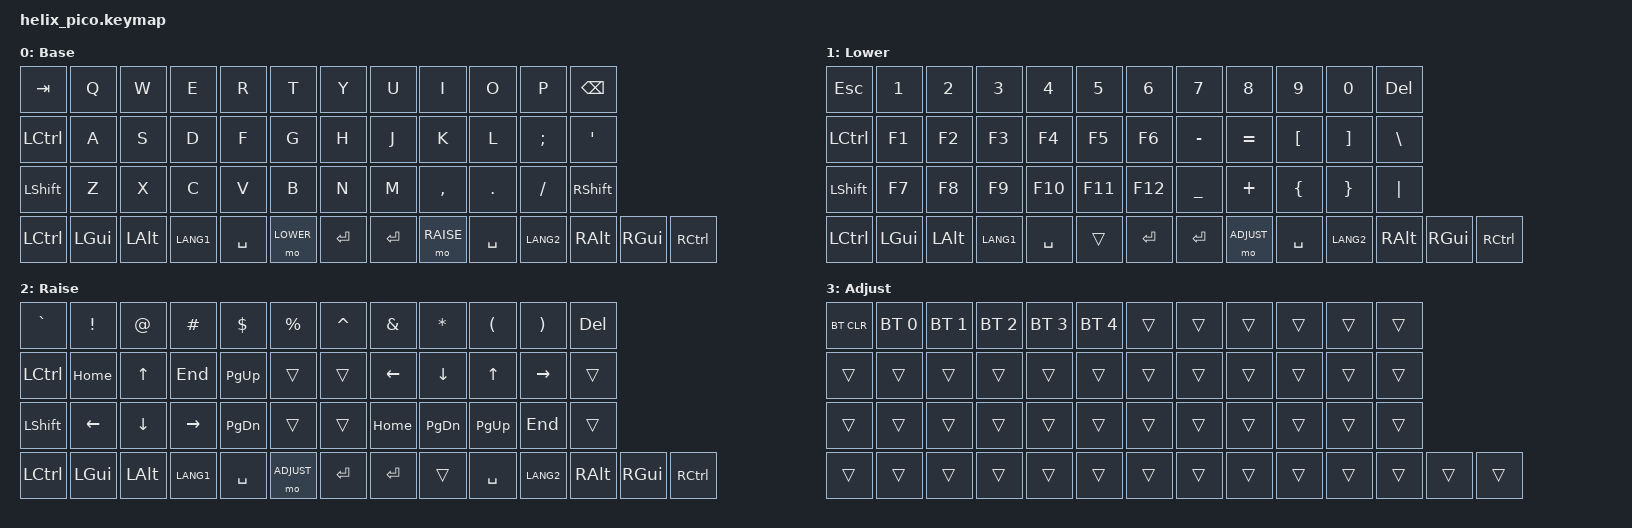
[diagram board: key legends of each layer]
/*
 * Copyright (c) 2024 HaruStudio
 * SPDX-License-Identifier: MIT
 *
 * Helix Pico default keymap (QWERTY)
 * 50 keys total: 4 rows x 6 cols + 1 thumb key, per side
 *
 * Physical layout (key index order in map):
 * Row0(12): TAB  Q W E R T  |  Y U I O P  BSPC
 * Row1(12): LCTL A S D F G  |  H J K L ;  '
 * Row2(12): LSFT Z X C V B  |  N M , . /  RSFT
 * Row3(14): LCTL LGUI LALT LANG1 SPC LWR ENT | ENT RSE SPC LANG2 RALT RGUI RCTL
 */

#include <behaviors.dtsi>
#include <dt-bindings/zmk/keys.h>
#include <dt-bindings/zmk/bt.h>

#define BASE 0
#define LOWER 1
#define RAISE 2
#define ADJUST 3

/ {
    keymap {
        compatible = "zmk,keymap";

        base_layer {
            label = "Base";
            bindings = <
/* Row 0 */
&kp TAB   &kp Q &kp W &kp E &kp R &kp T        &kp Y &kp U &kp I     &kp O   &kp P    &kp BSPC
/* Row 1 */
&kp LCTRL &kp A &kp S &kp D &kp F &kp G        &kp H &kp J &kp K     &kp L   &kp SEMI &kp SQT
/* Row 2 */
&kp LSHFT &kp Z &kp X &kp C &kp V &kp B        &kp N &kp M &kp COMMA &kp DOT &kp FSLH &kp RSHFT
/* Row 3 (7 keys per side) */
&kp LCTRL &kp LGUI &kp LALT &kp LANG1 &kp SPACE &mo LOWER &kp RET    &kp RET &mo RAISE &kp SPACE &kp LANG2 &kp RALT &kp RGUI &kp RCTRL
            >;
        };

        lower_layer {
            label = "Lower";
            bindings = <
/* Row 0 */
&kp ESC   &kp N1 &kp N2 &kp N3 &kp N4 &kp N5        &kp N6    &kp N7    &kp N8    &kp N9   &kp N0   &kp DEL
/* Row 1 */
&kp LCTRL &kp F1 &kp F2 &kp F3 &kp F4 &kp F5        &kp F6    &kp MINUS &kp EQUAL &kp LBKT &kp RBKT &kp BSLH
/* Row 2 */
&kp LSHFT &kp F7 &kp F8 &kp F9 &kp F10 &kp F11      &kp F12   &kp UNDER &kp PLUS  &kp LBRC &kp RBRC &kp PIPE
/* Row 3 */
&kp LCTRL &kp LGUI &kp LALT &kp LANG1 &kp SPACE &trans &kp RET    &kp RET &mo ADJUST &kp SPACE &kp LANG2 &kp RALT &kp RGUI &kp RCTRL
            >;
        };

        raise_layer {
            label = "Raise";
            bindings = <
/* Row 0 */
&kp GRAVE &kp EXCL &kp AT &kp HASH &kp DLLR &kp PRCNT    &kp CARET &kp AMPS  &kp STAR  &kp LPAR &kp RPAR &kp DEL
/* Row 1 */
&kp LCTRL &kp HOME &kp UP   &kp END   &kp PG_UP &trans      &trans    &kp LEFT  &kp DOWN  &kp UP   &kp RIGHT &trans
/* Row 2 */
&kp LSHFT &kp LEFT &kp DOWN &kp RIGHT &kp PG_DN &trans      &trans    &kp HOME  &kp PG_DN &kp PG_UP &kp END &trans
/* Row 3 */
&kp LCTRL &kp LGUI &kp LALT &kp LANG1 &kp SPACE &mo ADJUST &kp RET    &kp RET &trans &kp SPACE &kp LANG2 &kp RALT &kp RGUI &kp RCTRL
            >;
        };

        adjust_layer {
            label = "Adjust";
            bindings = <
/* Row 0 */
&bt BT_CLR &bt BT_SEL 0 &bt BT_SEL 1 &bt BT_SEL 2 &bt BT_SEL 3 &bt BT_SEL 4    &trans &trans &trans &trans &trans &trans
/* Row 1 */
&trans &trans &trans &trans &trans &trans    &trans &trans &trans &trans &trans &trans
/* Row 2 */
&trans &trans &trans &trans &trans &trans    &trans &trans &trans &trans &trans &trans
/* Row 3 */
&trans &trans &trans &trans &trans &trans &trans    &trans &trans &trans &trans &trans &trans &trans
            >;
        };
    };
};
